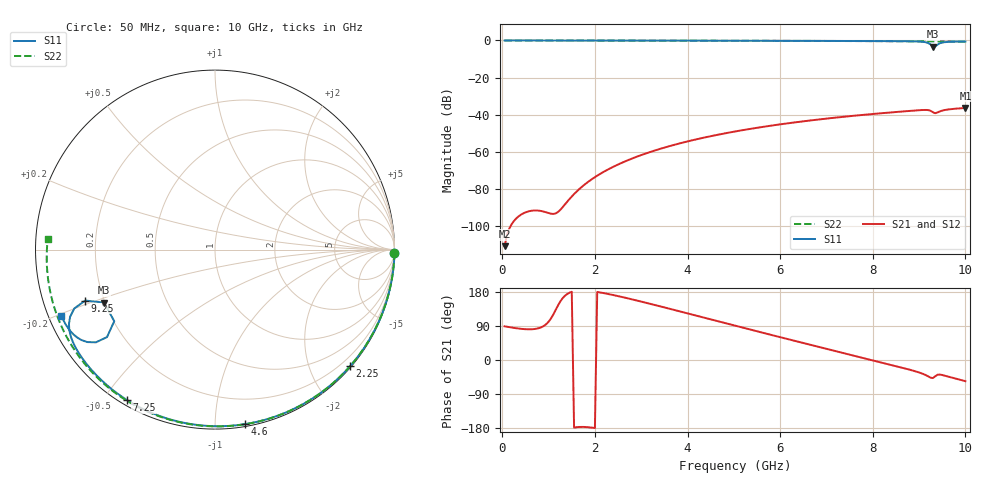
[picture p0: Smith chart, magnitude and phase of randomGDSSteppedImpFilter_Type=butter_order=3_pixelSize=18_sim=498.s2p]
! freq	dB(S11)	phase(S11)	dB(S12)	phase(S12)
!  dB(S21)	phase(S21)	dB(S22)	phase(S22)
!S-par simulation data
#  GHz  S  DB  R 50
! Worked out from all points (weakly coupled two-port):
!   200 points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, 50 MHz to 10 GHz, reference 50 ohm
!   highest |S21| = -36.43 dB at 10 GHz (marker M1); lowest = -111.0 dB at 50 MHz (marker M2)
!   lowest |S11| = -3.3 dB at 9.3 GHz (marker M3), VSWR 5.36, Z = 9.79 - j10.9 ohm
!   |S11| at or under -10 dB: nowhere
!   |S22| runs from -0.6 to 0.0 dB; largest |S21 - S12| = 0
!   S11 on the Smith chart (normalised r, x): 50 MHz: open; 2.25 GHz: 0.02, -2.69; 4.6 GHz: 0.02, -1.19; 7.25 GHz: 0.02, -0.57; 9.25 GHz: 0.13, -0.19; 10 GHz: 0.04, -0.21
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0.05  -0.00 -0.9  -111.05 88.9  -111.05 88.9  -0.00 -1.1
0.8  -0.02 -14.8  -91.90 84.4  -91.90 84.4  -0.02 -16.7
1.65  -0.04 -30.2  -80.50 -176.7  -80.50 -176.7  -0.04 -34.1
1.75  -0.04 -32.0  -78.34 -176.6  -78.34 -176.6  -0.05 -36.1
2.25  -0.05 -40.8  -70.08 175.1  -70.08 175.1  -0.06 -46.0
2.75  -0.06 -49.5  -64.25 161.6  -64.25 161.6  -0.07 -55.8
3.4  -0.08 -60.6  -58.57 141.9  -58.57 141.9  -0.09 -68.2
4.6  -0.12 -80.2  -51.16 104.1  -51.16 104.1  -0.13 -90.1
5.05  -0.13 -87.3  -49.03 89.9  -49.03 89.9  -0.15 -98.1
6.7  -0.22 -112.3  -43.04 38.6  -43.04 38.6  -0.25 -126.3
7.25  -0.26 -120.5  -41.51 21.9  -41.51 21.9  -0.29 -135.5
8.35  -0.36 -137.2  -38.94 -11.4  -38.94 -11.4  -0.39 -154.2
8.85  -0.48 -146.1  -37.92 -27.4  -37.92 -27.4  -0.45 -162.8
9.1  -0.80 -153.1  -37.52 -37.4  -37.52 -37.4  -0.48 -167.3
9.2  -1.42 -157.3  -37.61 -43.4  -37.61 -43.4  -0.49 -169.0
9.25  -2.20 -158.6  -37.99 -46.7  -37.99 -46.7  -0.50 -169.9
9.3  -3.28 -154.5  -38.78 -47.6  -38.78 -47.6  -0.50 -170.8
9.35  -3.24 -144.6  -39.27 -42.9  -39.27 -42.9  -0.51 -171.7
9.4  -2.22 -141.0  -38.85 -38.8  -38.85 -38.8  -0.52 -172.6
9.45  -1.50 -142.1  -38.28 -38.4  -38.28 -38.4  -0.52 -173.5
9.65  -0.73 -149.1  -37.19 -44.8  -37.19 -44.8  -0.55 -177.2
10  -0.60 -156.6  -36.43 -55.9  -36.43 -55.9  -0.60 176.2
